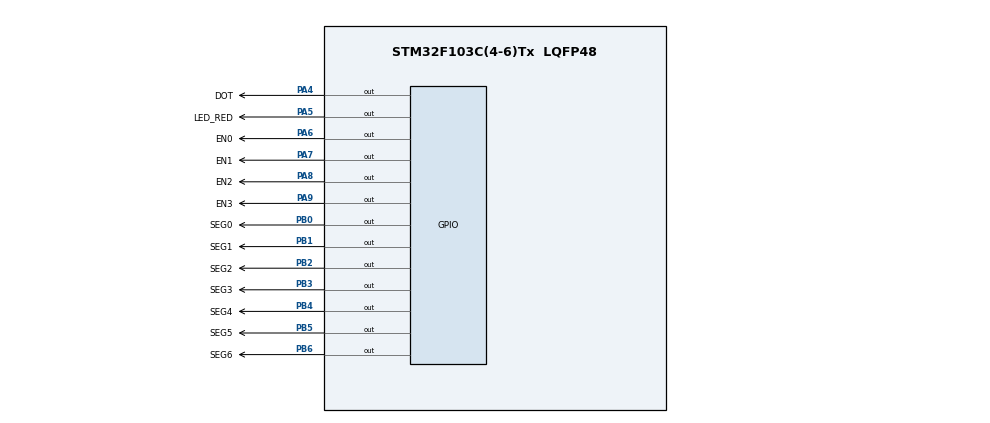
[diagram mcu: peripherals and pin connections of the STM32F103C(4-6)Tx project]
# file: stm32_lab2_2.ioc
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Mcu.Family=STM32F1
Mcu.Name=STM32F103C(4-6)Tx
Mcu.Package=LQFP48
NVIC.PriorityGroup=NVIC_PRIORITYGROUP_4
NVIC.TIM2_IRQn=true\:0\:0\:false\:false\:true\:true\:true\:true
PA4.GPIO_Label=DOT
PA4.Signal=GPIO_Output
PA5.GPIO_Label=LED_RED
PA5.Signal=GPIO_Output
PA6.GPIO_Label=EN0
PA6.Signal=GPIO_Output
PA7.GPIO_Label=EN1
PA7.Signal=GPIO_Output
PA8.GPIO_Label=EN2
PA8.Signal=GPIO_Output
PA9.GPIO_Label=EN3
PA9.Signal=GPIO_Output
PB0.GPIO_Label=SEG0
PB0.Signal=GPIO_Output
PB1.GPIO_Label=SEG1
PB1.Signal=GPIO_Output
PB2.GPIO_Label=SEG2
PB2.Signal=GPIO_Output
PB3.GPIO_Label=SEG3
PB3.Signal=GPIO_Output
PB4.GPIO_Label=SEG4
PB4.Signal=GPIO_Output
PB5.GPIO_Label=SEG5
PB5.Signal=GPIO_Output
PB6.GPIO_Label=SEG6
PB6.Signal=GPIO_Output
ProjectManager.HeapSize=0x200
ProjectManager.StackSize=0x400
ProjectManager.TargetToolchain=STM32CubeIDE
RCC.APB1Freq_Value=8000000
RCC.APB2Freq_Value=8000000
TIM2.Period=9
TIM2.Prescaler=7999
VP_SYS_VS_ND.Mode=No_Debug
VP_TIM2_VS_ClockSourceINT.Mode=Internal
board=custom

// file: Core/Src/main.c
/* USER CODE BEGIN Header */
/**
  ******************************************************************************
  * @file           : main.c
  * @brief          : Main program body
  ******************************************************************************
  * @attention
  *
  * Copyright (c) 2024 STMicroelectronics.
  * All rights reserved.
  *
  * This software is licensed under terms that can be found in the LICENSE file
  * in the root directory of this software component.
  * If no LICENSE file comes with this software, it is provided AS-IS.
  *
  ******************************************************************************
  */
/* USER CODE END Header */
#include "main.h"

TIM_HandleTypeDef htim2;

void SystemClock_Config(void);
static void MX_GPIO_Init(void);
static void MX_TIM2_Init(void);

/* USER CODE BEGIN 0 */
void display7SEG(int num, GPIO_TypeDef* GPIOx, uint16_t start_index) {
      __IO uint16_t temp;
      switch (num) {
          case 0: temp = 0b1000000; break;
          case 1: temp = 0b1111001; break;
          case 2: temp = 0b0100100; break;
          case 3: temp = 0b0110000; break;
          case 4: temp = 0b0011001; break;
          case 5: temp = 0b0010010; break;
          case 6: temp = 0b0000010; break;
          case 7: temp = 0b1111000; break;
          case 8: temp = 0b0; break;
          case 9: temp = 0b0010000; break;
          default: temp = !0b0; break;
      }
      uint16_t bitmask = 0b1111111 << start_index;
      GPIOx->ODR = (GPIOx->ODR & ~bitmask) | (temp << start_index);
  }

/* USER CODE END 0 */

int main(void)
{

  /* MCU Configuration--------------------------------------------------------*/

  /* Reset of all peripherals, Initializes the Flash interface and the Systick. */
  HAL_Init();

  /* Configure the system clock */
  SystemClock_Config();

  /* Initialize all configured peripherals */
  MX_GPIO_Init();
  MX_TIM2_Init();
  /* USER CODE BEGIN 2 */
  HAL_TIM_Base_Start_IT(&htim2);

  /* USER CODE END 2 */

  /* Infinite loop */
  while (1)
  {

  }
}

void SystemClock_Config(void)
{
  RCC_OscInitTypeDef RCC_OscInitStruct = {0};
  RCC_ClkInitTypeDef RCC_ClkInitStruct = {0};

  /** Initializes the RCC Oscillators according to the specified parameters
  * in the RCC_OscInitTypeDef structure.
  */
  RCC_OscInitStruct.OscillatorType = RCC_OSCILLATORTYPE_HSI;
  RCC_OscInitStruct.HSIState = RCC_HSI_ON;
  RCC_OscInitStruct.HSICalibrationValue = RCC_HSICALIBRATION_DEFAULT;
  RCC_OscInitStruct.PLL.PLLState = RCC_PLL_NONE;
  if (HAL_RCC_OscConfig(&RCC_OscInitStruct) != HAL_OK)
  {
    Error_Handler();
  }

  /** Initializes the CPU, AHB and APB buses clocks
  */
  RCC_ClkInitStruct.ClockType = RCC_CLOCKTYPE_HCLK|RCC_CLOCKTYPE_SYSCLK
                              |RCC_CLOCKTYPE_PCLK1|RCC_CLOCKTYPE_PCLK2;
  RCC_ClkInitStruct.SYSCLKSource = RCC_SYSCLKSOURCE_HSI;
  RCC_ClkInitStruct.AHBCLKDivider = RCC_SYSCLK_DIV1;
  RCC_ClkInitStruct.APB1CLKDivider = RCC_HCLK_DIV1;
  RCC_ClkInitStruct.APB2CLKDivider = RCC_HCLK_DIV1;

  if (HAL_RCC_ClockConfig(&RCC_ClkInitStruct, FLASH_LATENCY_0) != HAL_OK)
  {
    Error_Handler();
  }
}

static void MX_TIM2_Init(void)
{

  TIM_ClockConfigTypeDef sClockSourceConfig = {0};
  TIM_MasterConfigTypeDef sMasterConfig = {0};

  htim2.Instance = TIM2;
  htim2.Init.Prescaler = 7999;
  htim2.Init.CounterMode = TIM_COUNTERMODE_UP;
  htim2.Init.Period = 9;
  htim2.Init.ClockDivision = TIM_CLOCKDIVISION_DIV1;
  htim2.Init.AutoReloadPreload = TIM_AUTORELOAD_PRELOAD_DISABLE;
  if (HAL_TIM_Base_Init(&htim2) != HAL_OK)
  {
    Error_Handler();
  }
  sClockSourceConfig.ClockSource = TIM_CLOCKSOURCE_INTERNAL;
  if (HAL_TIM_ConfigClockSource(&htim2, &sClockSourceConfig) != HAL_OK)
  {
    Error_Handler();
  }
  sMasterConfig.MasterOutputTrigger = TIM_TRGO_RESET;
  sMasterConfig.MasterSlaveMode = TIM_MASTERSLAVEMODE_DISABLE;
  if (HAL_TIMEx_MasterConfigSynchronization(&htim2, &sMasterConfig) != HAL_OK)
  {
    Error_Handler();
  }

}

static void MX_GPIO_Init(void)
{
  GPIO_InitTypeDef GPIO_InitStruct = {0};

  /* GPIO Ports Clock Enable */
  __HAL_RCC_GPIOA_CLK_ENABLE();
  __HAL_RCC_GPIOB_CLK_ENABLE();

  /*Configure GPIO pin Output Level */
  HAL_GPIO_WritePin(GPIOA, DOT_Pin|LED_RED_Pin|EN0_Pin|EN1_Pin
                          |EN2_Pin|EN3_Pin, GPIO_PIN_RESET);

  /*Configure GPIO pin Output Level */
  HAL_GPIO_WritePin(GPIOB, SEG0_Pin|SEG1_Pin|SEG2_Pin|SEG3_Pin
                          |SEG4_Pin|SEG5_Pin|SEG6_Pin, GPIO_PIN_RESET);

  /*Configure GPIO pins : DOT_Pin LED_RED_Pin EN0_Pin EN1_Pin
                           EN2_Pin EN3_Pin */
  GPIO_InitStruct.Pin = DOT_Pin|LED_RED_Pin|EN0_Pin|EN1_Pin
                          |EN2_Pin|EN3_Pin;
  GPIO_InitStruct.Mode = GPIO_MODE_OUTPUT_PP;
  GPIO_InitStruct.Pull = GPIO_NOPULL;
  GPIO_InitStruct.Speed = GPIO_SPEED_FREQ_LOW;
  HAL_GPIO_Init(GPIOA, &GPIO_InitStruct);

  /*Configure GPIO pins : SEG0_Pin SEG1_Pin SEG2_Pin SEG3_Pin
                           SEG4_Pin SEG5_Pin SEG6_Pin */
  GPIO_InitStruct.Pin = SEG0_Pin|SEG1_Pin|SEG2_Pin|SEG3_Pin
                          |SEG4_Pin|SEG5_Pin|SEG6_Pin;
  GPIO_InitStruct.Mode = GPIO_MODE_OUTPUT_PP;
  GPIO_InitStruct.Pull = GPIO_NOPULL;
  GPIO_InitStruct.Speed = GPIO_SPEED_FREQ_LOW;
  HAL_GPIO_Init(GPIOB, &GPIO_InitStruct);

}

/* USER CODE BEGIN 4 */

//ex1
//int counter2 = 50;
//int counter1 = 100;
//int num = 1;
//void HAL_TIM_PeriodElapsedCallback (TIM_HandleTypeDef *htim){
//	/*
//	 * Trigger the led
//	 */
//	counter1--;
//	if(counter1 <= 0){
//		counter1 = 50;
//		HAL_GPIO_TogglePin(GPIOA, GPIO_PIN_5);
//	}
//	/*
//	 * Trigger the 7segment LED
//	 */
//	counter2--;
//	if(counter2 <= 0){
//		counter2 = 50;
//		HAL_GPIO_TogglePin(GPIOA, GPIO_PIN_6);
//		HAL_GPIO_TogglePin(GPIOA, GPIO_PIN_7);
//		num = 3 - num;
//	}
//	display7SEG(num, GPIOB, 0);
//}

int counter2 = 200;
int counter1 = 100;
int num = 1;
void HAL_TIM_PeriodElapsedCallback (TIM_HandleTypeDef * htim){
	/*
	 * Trigger the led
	 */
	counter1--;
	if(counter1 <= 0){
		counter1 = 100;
		HAL_GPIO_TogglePin(GPIOA, GPIO_PIN_5);
		HAL_GPIO_TogglePin(DOT_GPIO_Port, DOT_Pin);
	}
	/*
	 * Trigger the 7segment LED
	 */
	if(counter2-- == 0){
		counter2 = 200;
	}
	if(counter2 == 200){
		num = 1;
		HAL_GPIO_TogglePin(EN3_GPIO_Port, EN3_Pin);
		HAL_GPIO_TogglePin(EN0_GPIO_Port, EN0_Pin);
	}
	if(counter2 == 150){
		num = 2;
		HAL_GPIO_TogglePin(EN0_GPIO_Port, EN0_Pin);
		HAL_GPIO_TogglePin(EN1_GPIO_Port, EN1_Pin);
	}
	if(counter2 == 100){
		num = 3;
		HAL_GPIO_TogglePin(EN1_GPIO_Port, EN1_Pin);
		HAL_GPIO_TogglePin(EN2_GPIO_Port, EN2_Pin);
	}
	if(counter2 == 50){
		num = 0;
		HAL_GPIO_TogglePin(EN2_GPIO_Port, EN2_Pin);
		HAL_GPIO_TogglePin(EN3_GPIO_Port, EN3_Pin);
	}

	display7SEG(num, GPIOB, 0);
}

/* USER CODE END 4 */

void Error_Handler(void)
{
  __disable_irq();
  while (1)
  {
  }
}
